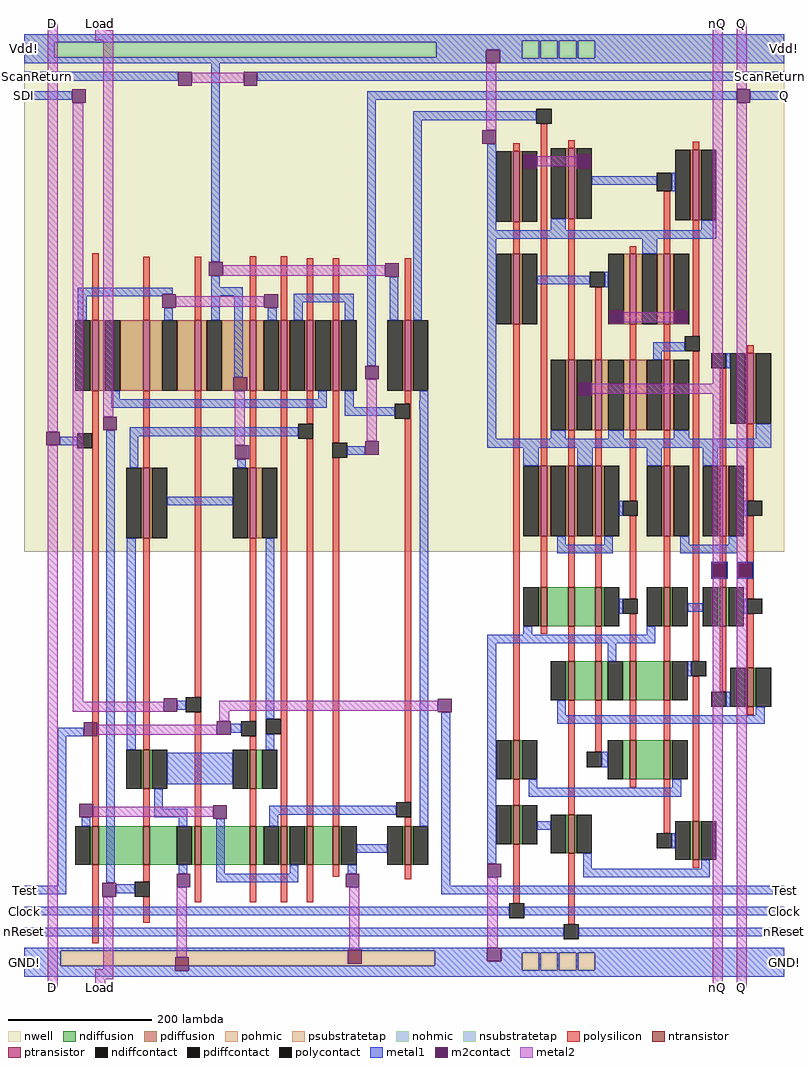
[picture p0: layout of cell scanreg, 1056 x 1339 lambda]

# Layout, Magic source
magic
tech tsmc180
<< nwell >>
rect 0 605 1056 1324
<< polysilicon >>
rect 680 1162 689 1173
rect 95 927 104 1020
rect 680 1019 689 1064
rect 166 927 175 1015
rect 237 927 246 1015
rect 314 927 323 1016
rect 357 927 366 1016
rect 393 927 402 1013
rect 429 927 438 1013
rect 529 927 538 1013
rect 95 224 104 829
rect 166 722 175 829
rect 166 330 175 624
rect 237 403 246 829
rect 314 722 323 829
rect 166 224 175 276
rect 237 224 246 382
rect 314 370 323 624
rect 314 330 323 349
rect 314 224 323 276
rect 357 224 366 829
rect 393 783 402 829
rect 393 224 402 762
rect 429 757 438 829
rect 529 811 538 829
rect 536 790 538 811
rect 429 224 438 736
rect 529 257 538 790
rect 680 343 689 921
rect 718 725 727 1200
rect 756 1166 765 1177
rect 929 1164 938 1175
rect 756 872 765 1068
rect 842 1019 851 1030
rect 889 1019 898 1106
rect 794 872 803 973
rect 842 872 851 921
rect 889 872 898 921
rect 929 905 938 1066
rect 756 725 765 774
rect 794 725 803 774
rect 842 676 851 774
rect 889 725 898 774
rect 718 556 727 627
rect 756 556 765 627
rect 794 556 803 627
rect 842 540 851 655
rect 889 556 898 627
rect 718 491 727 502
rect 756 453 765 502
rect 794 453 803 502
rect 842 453 851 519
rect 889 453 898 502
rect 929 453 938 884
rect 1005 881 1014 892
rect 967 725 976 860
rect 1005 676 1014 783
rect 967 590 976 627
rect 1005 590 1014 655
rect 1013 569 1014 590
rect 967 556 976 569
rect 1005 540 1014 569
rect 680 253 689 289
rect 529 224 538 236
rect 756 240 765 399
rect 794 327 803 399
rect 842 343 851 399
rect 889 343 898 399
rect 842 278 851 289
rect 95 61 104 170
rect 166 147 175 170
rect 166 90 175 126
rect 237 118 246 170
rect 314 118 323 170
rect 357 118 366 170
rect 393 118 402 170
rect 429 154 438 170
rect 529 150 538 170
rect 680 117 689 199
rect 889 214 898 289
rect 929 231 938 432
rect 967 411 976 502
rect 1005 444 1014 519
rect 1005 379 1014 390
rect 756 88 765 186
rect 929 166 938 177
<< ndiffusion >>
rect 163 276 166 330
rect 175 276 178 330
rect 311 276 314 330
rect 323 276 331 330
rect 715 502 718 556
rect 727 502 756 556
rect 765 502 794 556
rect 803 502 806 556
rect 886 502 889 556
rect 898 502 901 556
rect 964 502 967 556
rect 976 502 979 556
rect 753 399 756 453
rect 765 399 794 453
rect 803 399 811 453
rect 832 399 842 453
rect 851 399 889 453
rect 898 399 901 453
rect 677 289 680 343
rect 689 289 692 343
rect 92 170 95 224
rect 104 170 166 224
rect 175 170 212 224
rect 233 170 237 224
rect 246 170 314 224
rect 323 170 333 224
rect 354 170 357 224
rect 366 170 369 224
rect 390 170 393 224
rect 402 170 429 224
rect 438 170 441 224
rect 526 170 529 224
rect 538 170 541 224
rect 677 199 680 253
rect 689 199 692 253
rect 832 289 842 343
rect 851 289 889 343
rect 898 289 901 343
rect 753 186 756 240
rect 765 186 768 240
rect 1002 390 1005 444
rect 1014 390 1017 444
rect 926 177 929 231
rect 938 177 941 231
<< pdiffusion >>
rect 677 1064 680 1162
rect 689 1064 692 1162
rect 92 829 95 927
rect 104 829 113 927
rect 134 829 166 927
rect 175 829 192 927
rect 213 829 237 927
rect 246 829 254 927
rect 275 829 314 927
rect 323 829 333 927
rect 354 829 357 927
rect 366 829 369 927
rect 390 829 393 927
rect 402 829 405 927
rect 426 829 429 927
rect 438 829 441 927
rect 526 829 529 927
rect 538 829 541 927
rect 677 921 680 1019
rect 689 921 692 1019
rect 163 624 166 722
rect 175 624 178 722
rect 311 624 314 722
rect 323 624 331 722
rect 753 1068 756 1166
rect 765 1068 768 1166
rect 926 1066 929 1164
rect 938 1066 941 1164
rect 833 921 842 1019
rect 851 921 859 1019
rect 880 921 889 1019
rect 898 921 903 1019
rect 753 774 756 872
rect 765 774 768 872
rect 789 774 794 872
rect 803 774 812 872
rect 833 774 842 872
rect 851 774 865 872
rect 886 774 889 872
rect 898 774 903 872
rect 715 627 718 725
rect 727 627 732 725
rect 753 627 756 725
rect 765 627 769 725
rect 790 627 794 725
rect 803 627 806 725
rect 886 627 889 725
rect 898 627 903 725
rect 1002 783 1005 881
rect 1014 783 1017 881
rect 964 627 967 725
rect 976 627 979 725
<< pohmic >>
rect 715 24 718 48
rect 741 24 744 48
rect 767 24 770 48
<< nohmic >>
rect 715 1291 718 1315
rect 741 1291 744 1315
rect 767 1291 770 1315
<< ntransistor >>
rect 166 276 175 330
rect 314 276 323 330
rect 718 502 727 556
rect 756 502 765 556
rect 794 502 803 556
rect 889 502 898 556
rect 967 502 976 556
rect 756 399 765 453
rect 794 399 803 453
rect 842 399 851 453
rect 889 399 898 453
rect 680 289 689 343
rect 95 170 104 224
rect 166 170 175 224
rect 237 170 246 224
rect 314 170 323 224
rect 357 170 366 224
rect 393 170 402 224
rect 429 170 438 224
rect 529 170 538 224
rect 680 199 689 253
rect 842 289 851 343
rect 889 289 898 343
rect 756 186 765 240
rect 1005 390 1014 444
rect 929 177 938 231
<< ptransistor >>
rect 680 1064 689 1162
rect 95 829 104 927
rect 166 829 175 927
rect 237 829 246 927
rect 314 829 323 927
rect 357 829 366 927
rect 393 829 402 927
rect 429 829 438 927
rect 529 829 538 927
rect 680 921 689 1019
rect 166 624 175 722
rect 314 624 323 722
rect 756 1068 765 1166
rect 929 1066 938 1164
rect 842 921 851 1019
rect 889 921 898 1019
rect 756 774 765 872
rect 794 774 803 872
rect 842 774 851 872
rect 889 774 898 872
rect 718 627 727 725
rect 756 627 765 725
rect 794 627 803 725
rect 889 627 898 725
rect 1005 783 1014 881
rect 967 627 976 725
<< polycontact >>
rect 712 1200 733 1221
rect 74 749 95 770
rect 225 382 246 403
rect 302 349 323 370
rect 336 352 357 373
rect 381 762 402 783
rect 515 790 536 811
rect 428 736 449 757
rect 879 1106 900 1132
rect 786 973 807 994
rect 918 884 939 905
rect 832 655 853 676
rect 832 519 853 540
rect 955 860 976 881
rect 1005 655 1026 676
rect 956 569 977 590
rect 992 569 1013 590
rect 1005 519 1026 540
rect 927 432 948 453
rect 517 236 538 257
rect 782 306 803 327
rect 154 126 175 147
rect 955 390 976 411
rect 879 193 900 214
rect 674 96 695 117
rect 750 67 771 88
<< ndiffcontact >>
rect 142 276 163 330
rect 178 276 199 330
rect 290 276 311 330
rect 331 276 352 330
rect 694 502 715 556
rect 806 502 827 556
rect 865 502 886 556
rect 901 502 922 556
rect 943 502 964 556
rect 979 502 1000 556
rect 732 399 753 453
rect 811 399 832 453
rect 901 399 922 453
rect 656 289 677 343
rect 692 289 713 343
rect 71 170 92 224
rect 212 170 233 224
rect 333 170 354 224
rect 369 170 390 224
rect 441 170 462 224
rect 505 170 526 224
rect 541 170 562 224
rect 656 199 677 253
rect 692 199 713 253
rect 811 289 832 343
rect 901 289 922 343
rect 732 186 753 240
rect 768 186 789 240
rect 981 390 1002 444
rect 1017 390 1038 444
rect 905 177 926 231
rect 941 177 962 231
<< pdiffcontact >>
rect 656 1064 677 1162
rect 692 1064 713 1162
rect 71 829 92 927
rect 113 829 134 927
rect 192 829 213 927
rect 254 829 275 927
rect 333 829 354 927
rect 369 829 390 927
rect 405 829 426 927
rect 441 829 462 927
rect 505 829 526 927
rect 541 829 562 927
rect 656 921 677 1019
rect 692 921 713 1019
rect 142 624 163 722
rect 178 624 199 722
rect 290 624 311 722
rect 331 624 352 722
rect 732 1068 753 1166
rect 768 1068 789 1166
rect 905 1066 926 1164
rect 941 1066 962 1164
rect 812 921 833 1019
rect 859 921 880 1019
rect 903 921 924 1019
rect 732 774 753 872
rect 768 774 789 872
rect 812 774 833 872
rect 865 774 886 872
rect 903 774 924 872
rect 694 627 715 725
rect 732 627 753 725
rect 769 627 790 725
rect 806 627 827 725
rect 865 627 886 725
rect 903 627 924 725
rect 981 783 1002 881
rect 1017 783 1038 881
rect 943 627 964 725
rect 979 627 1000 725
<< psubstratetap >>
rect 51 30 571 51
rect 692 24 715 48
rect 718 24 741 48
rect 744 24 767 48
rect 770 24 793 48
<< nsubstratetap >>
rect 42 1292 573 1313
rect 692 1291 715 1315
rect 718 1291 741 1315
rect 744 1291 767 1315
rect 770 1291 793 1315
<< metal1 >>
rect 0 1315 1056 1324
rect 0 1313 692 1315
rect 0 1292 42 1313
rect 573 1303 692 1313
rect 573 1292 642 1303
rect 0 1284 642 1292
rect 661 1291 692 1303
rect 715 1291 718 1315
rect 741 1291 744 1315
rect 767 1291 770 1315
rect 793 1291 1056 1315
rect 661 1284 1056 1291
rect 0 1260 214 1272
rect 0 1233 67 1245
rect 260 1008 272 1284
rect 324 1260 1056 1272
rect 477 1233 990 1245
rect 260 973 272 989
rect 75 963 207 972
rect 75 960 192 963
rect 75 927 87 960
rect 260 961 304 973
rect 195 927 207 944
rect 260 927 272 961
rect 292 848 304 961
rect 375 952 458 964
rect 339 927 351 944
rect 375 927 387 952
rect 446 927 458 952
rect 477 864 489 1233
rect 1009 1233 1056 1245
rect 541 1205 712 1217
rect 508 927 520 987
rect 541 927 553 1205
rect 644 1052 656 1172
rect 789 1115 879 1127
rect 900 1106 905 1132
rect 732 1052 753 1068
rect 941 1052 962 1066
rect 644 1040 962 1052
rect 121 817 133 829
rect 409 817 421 829
rect 121 805 421 817
rect 446 806 458 829
rect 550 815 562 829
rect 446 794 515 806
rect 549 803 562 815
rect 50 753 74 765
rect 47 349 83 361
rect 47 141 59 349
rect 80 224 92 236
rect 114 145 126 774
rect 147 766 381 778
rect 147 722 159 766
rect 449 740 474 752
rect 296 722 308 734
rect 199 670 290 682
rect 143 330 155 624
rect 213 386 225 398
rect 336 373 348 624
rect 287 354 302 366
rect 336 330 348 352
rect 199 282 290 326
rect 181 248 193 276
rect 181 236 227 248
rect 215 224 227 236
rect 341 240 517 252
rect 215 158 227 170
rect 267 158 279 234
rect 341 224 353 240
rect 550 224 562 803
rect 644 762 656 1040
rect 859 1019 880 1040
rect 713 977 786 989
rect 807 973 812 994
rect 874 884 918 896
rect 874 872 886 884
rect 976 860 981 881
rect 732 762 753 774
rect 812 762 833 774
rect 903 762 924 774
rect 1017 762 1038 783
rect 644 750 1038 762
rect 694 725 715 750
rect 769 725 790 750
rect 865 725 886 750
rect 943 725 964 750
rect 827 655 832 676
rect 1000 655 1005 676
rect 741 615 753 627
rect 806 615 818 627
rect 741 603 818 615
rect 912 615 924 627
rect 979 615 991 627
rect 912 603 991 615
rect 955 590 978 591
rect 955 569 956 590
rect 977 569 978 590
rect 955 568 978 569
rect 991 590 1014 591
rect 991 569 992 590
rect 1013 569 1014 590
rect 991 568 1014 569
rect 827 519 832 540
rect 922 522 943 534
rect 1000 519 1005 540
rect 694 490 706 502
rect 865 490 877 502
rect 644 478 877 490
rect 462 187 505 199
rect 369 158 381 170
rect 450 158 462 170
rect 0 129 59 141
rect 128 131 154 143
rect 267 146 381 158
rect 580 141 592 382
rect 644 172 656 478
rect 811 453 823 478
rect 922 432 927 453
rect 741 378 753 399
rect 976 390 981 411
rect 1017 378 1029 390
rect 741 366 1029 378
rect 803 306 811 327
rect 701 277 713 289
rect 901 277 913 289
rect 701 265 913 277
rect 713 219 732 231
rect 900 193 905 214
rect 777 165 789 186
rect 941 165 953 177
rect 777 153 953 165
rect 580 129 1056 141
rect 0 100 674 112
rect 695 100 1056 112
rect 0 71 750 83
rect 771 71 1056 83
rect 0 52 644 55
rect 0 51 450 52
rect 469 51 644 52
rect 0 30 51 51
rect 571 36 644 51
rect 663 48 1056 55
rect 663 36 692 48
rect 571 30 692 36
rect 0 23 210 30
rect 229 24 692 30
rect 715 24 718 48
rect 741 24 744 48
rect 767 24 770 48
rect 793 24 1056 48
rect 229 23 1056 24
rect 0 15 1056 23
<< m2contact >>
rect 642 1284 661 1303
rect 214 1253 233 1272
rect 67 1229 86 1248
rect 305 1253 324 1272
rect 257 989 276 1008
rect 192 944 211 963
rect 334 944 353 963
rect 291 829 310 848
rect 990 1229 1009 1248
rect 502 987 521 1006
rect 637 1172 656 1191
rect 694 1138 713 1157
rect 768 1138 787 1157
rect 474 845 493 864
rect 110 774 129 793
rect 31 753 50 772
rect 83 349 102 368
rect 77 236 96 255
rect 293 734 312 753
rect 474 740 493 759
rect 194 383 213 402
rect 268 351 287 370
rect 263 234 282 253
rect 814 921 833 940
rect 903 921 922 940
rect 770 822 789 841
rect 957 570 976 589
rect 993 570 1012 589
rect 575 382 594 401
rect 109 126 128 145
rect 212 139 231 158
rect 447 139 466 158
rect 644 153 663 172
rect 450 51 469 52
rect 210 30 229 42
rect 450 33 469 51
rect 644 36 663 55
rect 210 23 229 30
<< metal2 >>
rect 33 772 47 1339
rect 99 1330 113 1339
rect 99 1316 124 1330
rect 33 0 47 753
rect 68 397 82 1229
rect 110 793 124 1316
rect 233 1257 305 1271
rect 642 1191 656 1284
rect 713 1141 768 1155
rect 276 989 502 1003
rect 211 946 334 960
rect 833 924 903 938
rect 293 753 307 829
rect 476 759 490 845
rect 957 839 971 1339
rect 789 825 971 839
rect 957 590 971 825
rect 990 1248 1004 1339
rect 957 589 973 590
rect 990 589 1004 1229
rect 990 570 993 589
rect 957 569 973 570
rect 68 383 194 397
rect 271 384 575 398
rect 271 370 285 384
rect 102 351 268 365
rect 96 237 263 251
rect 110 25 124 126
rect 212 42 226 139
rect 452 52 466 139
rect 644 55 658 153
rect 99 11 124 25
rect 99 0 113 11
rect 957 0 971 569
rect 990 0 1004 570
<< labels >>
rlabel metal1 0 71 0 83 3 nReset
rlabel metal1 0 100 0 112 3 Clock
rlabel metal1 0 129 0 141 3 Test
rlabel metal2 33 0 47 0 1 D
rlabel metal2 99 0 113 0 1 Load
rlabel metal1 0 1260 0 1272 3 ScanReturn
rlabel metal1 0 1233 0 1245 3 SDI
rlabel metal2 99 1339 113 1339 5 Load
rlabel metal2 33 1339 47 1339 5 D
rlabel metal1 0 1284 0 1324 3 Vdd!
rlabel metal1 0 15 0 55 3 GND!
rlabel metal2 990 1339 1004 1339 5 Q
rlabel metal2 990 0 1004 0 1 Q
rlabel metal2 957 1339 971 1339 5 nQ
rlabel metal2 957 0 971 0 1 nQ
rlabel metal1 1056 1233 1056 1245 7 Q
rlabel metal1 1056 15 1056 55 1 GND!
rlabel metal1 1056 71 1056 83 1 nReset
rlabel metal1 1056 100 1056 112 1 Clock
rlabel metal1 1056 129 1056 141 1 Test
rlabel metal1 1056 1260 1056 1272 7 ScanReturn
rlabel metal1 1056 1284 1056 1324 7 Vdd!
<< end >>
